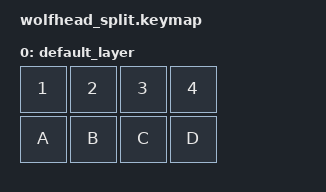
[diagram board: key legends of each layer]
#include <behaviors.dtsi>
#include <dt-bindings/zmk/keys.h>


/ {
    keymap {
        compatible = "zmk,keymap";

        default_layer {
            bindings = <
                &kp N1 &kp N2    &kp N3 &kp N4
                &kp A  &kp B     &kp C  &kp D
            >;
        };
    };
};
